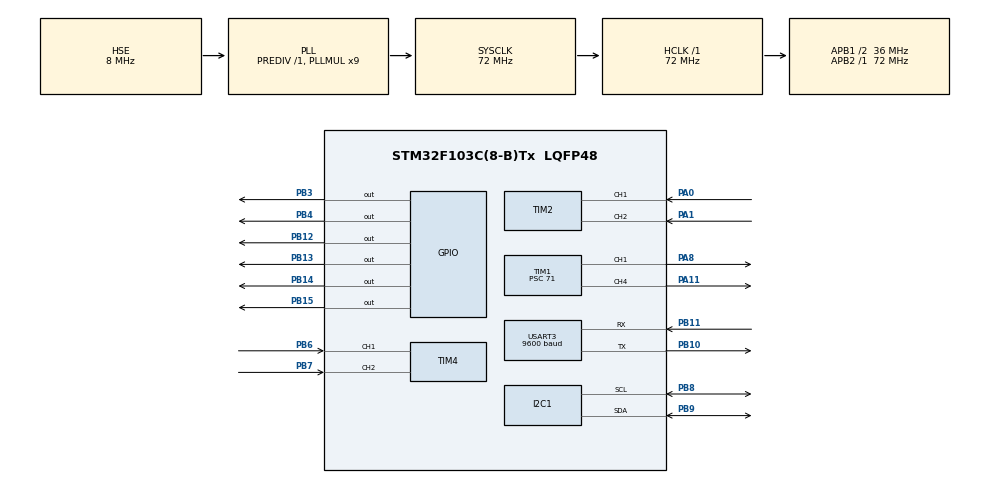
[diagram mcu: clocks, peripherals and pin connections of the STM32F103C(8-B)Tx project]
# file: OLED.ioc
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Mcu.Family=STM32F1
Mcu.Name=STM32F103C(8-B)Tx
Mcu.Package=LQFP48
NVIC.PriorityGroup=NVIC_PRIORITYGROUP_4
NVIC.USART3_IRQn=true\:0\:0\:false\:false\:true\:true\:true
PA0-WKUP.Signal=S_TIM2_CH1_ETR
PA1.Signal=S_TIM2_CH2
PA11.Signal=S_TIM1_CH4
PA13.Mode=Serial_Wire
PA13.Signal=SYS_JTMS-SWDIO
PA14.Mode=Serial_Wire
PA14.Signal=SYS_JTCK-SWCLK
PA8.Signal=S_TIM1_CH1
PB10.Mode=Asynchronous
PB10.Signal=USART3_TX
PB11.Mode=Asynchronous
PB11.Signal=USART3_RX
PB12.Signal=GPIO_Output
PB13.Signal=GPIO_Output
PB14.Signal=GPIO_Output
PB15.Signal=GPIO_Output
PB3.Signal=GPIO_Output
PB4.Signal=GPIO_Output
PB6.Signal=S_TIM4_CH1
PB7.Signal=S_TIM4_CH2
PB8.Mode=I2C
PB8.Signal=I2C1_SCL
PB9.Mode=I2C
PB9.Signal=I2C1_SDA
PC14-OSC32_IN.Mode=LSE-External-Oscillator
PC14-OSC32_IN.Signal=RCC_OSC32_IN
PC15-OSC32_OUT.Mode=LSE-External-Oscillator
PC15-OSC32_OUT.Signal=RCC_OSC32_OUT
PD0-OSC_IN.Mode=HSE-External-Oscillator
PD0-OSC_IN.Signal=RCC_OSC_IN
PD1-OSC_OUT.Mode=HSE-External-Oscillator
PD1-OSC_OUT.Signal=RCC_OSC_OUT
ProjectManager.HeapSize=0x200
ProjectManager.StackSize=0x400
ProjectManager.TargetToolchain=MDK-ARM V5.32
RCC.AHBFreq_Value=72000000
RCC.APB1CLKDivider=RCC_HCLK_DIV2
RCC.APB1Freq_Value=36000000
RCC.APB1TimFreq_Value=72000000
RCC.APB2Freq_Value=72000000
RCC.APB2TimFreq_Value=72000000
RCC.HCLKFreq_Value=72000000
RCC.PLLMUL=RCC_PLL_MUL9
RCC.PLLSourceVirtual=RCC_PLLSOURCE_HSE
RCC.SYSCLKFreq_VALUE=72000000
RCC.SYSCLKSource=RCC_SYSCLKSOURCE_PLLCLK
RCC.USBFreq_Value=72000000
SH.S_TIM1_CH1.0=TIM1_CH1,PWM Generation1 CH1
SH.S_TIM1_CH4.0=TIM1_CH4,PWM Generation4 CH4
SH.S_TIM2_CH1_ETR.0=TIM2_CH1,Encoder_Interface
SH.S_TIM2_CH2.0=TIM2_CH2,Encoder_Interface
SH.S_TIM4_CH1.0=TIM4_CH1,Encoder_Interface
SH.S_TIM4_CH2.0=TIM4_CH2,Encoder_Interface
TIM1.Channel-PWM\ Generation1\ CH1=TIM_CHANNEL_1
TIM1.Channel-PWM\ Generation4\ CH4=TIM_CHANNEL_4
TIM1.Period=99
TIM1.Prescaler=71
TIM1.Pulse-PWM\ Generation1\ CH1=99
TIM1.Pulse-PWM\ Generation4\ CH4=99
TIM2.EncoderMode=TIM_ENCODERMODE_TI12
TIM4.EncoderMode=TIM_ENCODERMODE_TI12
USART3.BaudRate=9600
USART3.VirtualMode=VM_ASYNC
board=custom

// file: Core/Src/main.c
/* USER CODE BEGIN Header */
/**
  ******************************************************************************
  * @file           : main.c
  * @brief          : Main program body
  ******************************************************************************
  * @attention
  *
  * <h2><center>&copy; Copyright (c) 2025 STMicroelectronics.
  * All rights reserved.</center></h2>
  *
  * This software component is licensed by ST under BSD 3-Clause license,
  * the "License"; You may not use this file except in compliance with the
  * License. You may obtain a copy of the License at:
  *                        opensource.org/licenses/BSD-3-Clause
  *
  ******************************************************************************
  */
/* USER CODE END Header */
#include "main.h"
#include "i2c.h"
#include "tim.h"
#include "usart.h"
#include "gpio.h"

/* USER CODE BEGIN Includes */
#include "oled.h"
#include "IIC.h"
#include "inv_mpu.h"
#include "inv_mpu_dmp_motion_driver.h"
#include "mpu6050.h"
#include "stdio.h"
#include "motor.h"
#include "encoder.h"
/* USER CODE END Includes */

/* USER CODE BEGIN PV */
int Encoder_Left,Encoder_Right;
float pitch,roll,yaw;
uint8_t display_buf[20];
extern uint8_t rx_buf[2];
/* USER CODE END PV */

void SystemClock_Config(void);

/* USER CODE BEGIN 0 */
void Read(void);
/* USER CODE END 0 */

int main(void)
{

  /* MCU Configuration--------------------------------------------------------*/

  /* Reset of all peripherals, Initializes the Flash interface and the Systick. */
  HAL_Init();

  /* Configure the system clock */
  SystemClock_Config();

  /* Initialize all configured peripherals */
  MX_GPIO_Init();
  MX_I2C1_Init();
  MX_TIM1_Init();
  MX_TIM2_Init();
  MX_TIM4_Init();
  MX_USART3_UART_Init();
  /* USER CODE BEGIN 2 */

  OLED_Init();
  OLED_Clear();
  MPU_Init();
  mpu_dmp_init();

  OLED_ShowString(0,00,"Init Sucess!",16);
	HAL_TIM_PWM_Start(&htim1,TIM_CHANNEL_1);
	HAL_TIM_PWM_Start(&htim1,TIM_CHANNEL_4);
	HAL_TIM_Encoder_Start(&htim2,TIM_CHANNEL_ALL);
	HAL_TIM_Encoder_Start(&htim4,TIM_CHANNEL_ALL);
	HAL_UART_Receive_IT(&huart3,rx_buf,1);
	Load(0,0);
	HAL_UART_Transmit(&huart3,"Hello Wrold!\r\n",13,1000);
  /* USER CODE END 2 */

  /* Infinite loop */
  /* USER CODE BEGIN WHILE */
  while (1)
  {
	  Read();
//	  sprintf((char *)display_buf,"Encoder_L:%d  ",Encoder_Left);
//	  OLED_ShowString(0,2,display_buf,16);
//	  sprintf((char *)display_buf,"Encoder_R:%d  ",Encoder_Right);
//	  OLED_ShowString(0,4,display_buf,16);
//	  HAL_Delay(10);
	  mpu_dmp_get_data(&pitch,&roll,&yaw);
	  sprintf((char *)display_buf,"pitch:%.2f  ",pitch);
	  OLED_ShowString(0,2,display_buf,16);
	  HAL_UART_Transmit(&huart3,display_buf,sizeof(display_buf),1000);
//	  sprintf((char *)display_buf,"roll:%.2f  ",roll);
//	  OLED_ShowString(0,4,display_buf,16);
//	  sprintf((char *)display_buf,"yaw:%.2f  ",yaw);
//	  OLED_ShowString(0,6,display_buf,16);
    /* USER CODE END WHILE */

  }
}

void SystemClock_Config(void)
{
  RCC_OscInitTypeDef RCC_OscInitStruct = {0};
  RCC_ClkInitTypeDef RCC_ClkInitStruct = {0};

  /** Initializes the RCC Oscillators according to the specified parameters
  * in the RCC_OscInitTypeDef structure.
  */
  RCC_OscInitStruct.OscillatorType = RCC_OSCILLATORTYPE_HSE;
  RCC_OscInitStruct.HSEState = RCC_HSE_ON;
  RCC_OscInitStruct.HSEPredivValue = RCC_HSE_PREDIV_DIV1;
  RCC_OscInitStruct.HSIState = RCC_HSI_ON;
  RCC_OscInitStruct.PLL.PLLState = RCC_PLL_ON;
  RCC_OscInitStruct.PLL.PLLSource = RCC_PLLSOURCE_HSE;
  RCC_OscInitStruct.PLL.PLLMUL = RCC_PLL_MUL9;
  if (HAL_RCC_OscConfig(&RCC_OscInitStruct) != HAL_OK)
  {
    Error_Handler();
  }
  /** Initializes the CPU, AHB and APB buses clocks
  */
  RCC_ClkInitStruct.ClockType = RCC_CLOCKTYPE_HCLK|RCC_CLOCKTYPE_SYSCLK
                              |RCC_CLOCKTYPE_PCLK1|RCC_CLOCKTYPE_PCLK2;
  RCC_ClkInitStruct.SYSCLKSource = RCC_SYSCLKSOURCE_PLLCLK;
  RCC_ClkInitStruct.AHBCLKDivider = RCC_SYSCLK_DIV1;
  RCC_ClkInitStruct.APB1CLKDivider = RCC_HCLK_DIV2;
  RCC_ClkInitStruct.APB2CLKDivider = RCC_HCLK_DIV1;

  if (HAL_RCC_ClockConfig(&RCC_ClkInitStruct, FLASH_LATENCY_2) != HAL_OK)
  {
    Error_Handler();
  }
}

/* USER CODE BEGIN 4 */
void Read(void)
{
static uint32_t sys_tick = 0;
 if(uwTick-sys_tick<10)
	 return;
 sys_tick=uwTick;
 Encoder_Left=Read_Speed(&htim2);
 Encoder_Right=-Read_Speed(&htim4);

}
/* USER CODE END 4 */

void Error_Handler(void)
{
  __disable_irq();
  while (1)
  {
  }
}

/************************ (C) COPYRIGHT STMicroelectronics *****END OF FILE****/
